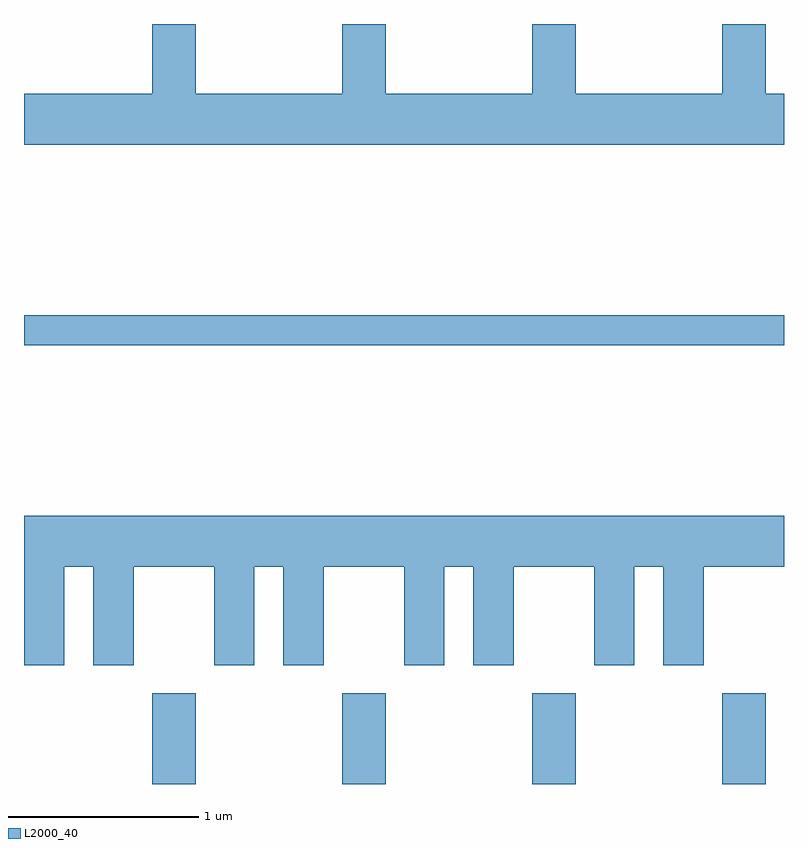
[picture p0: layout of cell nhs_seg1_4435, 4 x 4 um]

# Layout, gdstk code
import gdstk
lib = gdstk.Library(unit=1e-6, precision=1e-09)
def R(c, l, rs):  # rectangles x0, y0, x1, y1
    for r in rs: c.add(gdstk.rectangle(r[:2], r[2:], *l))
def A(c, l, x, y, w, h, nx, ny, dx, dy):  # array of equal rectangles
    R(c, l, [(x+i*dx, y+j*dy, x+i*dx+w, y+j*dy+h) for i in range(nx) for j in range(ny)])
def P(c, l, *ps):  # polygons
    for p in ps: c.add(gdstk.Polygon(p, *l))
L2000_40 = (2000, 40)

nhs_seg1_4435 = lib.new_cell('nhs_seg1_4435')
A(nhs_seg1_4435, L2000_40, 318.286, 951.712, 0.228, 0.477, 4, 1, 1, 0)
R(nhs_seg1_4435, L2000_40, [(317.611,954.021,321.611,954.179)])
P(nhs_seg1_4435, L2000_40, [(321.611,955.344),(321.514,955.344),(321.514,955.712),(321.286,955.712),(321.286,955.344),(320.514,955.344),(320.514,955.712),(320.286,955.712),(320.286,955.344),(319.514,955.344),(319.514,955.712),(319.286,955.712),(319.286,955.344),(318.514,955.344),(318.514,955.712),(318.286,955.712),(318.286,955.344),(317.611,955.344),(317.611,955.076),(321.611,955.076)],
  [(317.824,952.856),(317.976,952.856),(317.976,952.336),(318.189,952.336),(318.189,952.856),(318.611,952.856),(318.611,952.336),(318.824,952.336),(318.824,952.856),(318.976,952.856),(318.976,952.336),(319.189,952.336),(319.189,952.856),(319.611,952.856),(319.611,952.336),(319.824,952.336),(319.824,952.856),(319.976,952.856),(319.976,952.336),(320.189,952.336),(320.189,952.856),(320.611,952.856),(320.611,952.336),(320.824,952.336),(320.824,952.856),(320.976,952.856),(320.976,952.336),(321.189,952.336),(321.189,952.856),(321.611,952.856),(321.611,953.124),(317.611,953.124),(317.611,952.336),(317.824,952.336)])

lib.write_gds('nhs_seg1_4435.gds')
